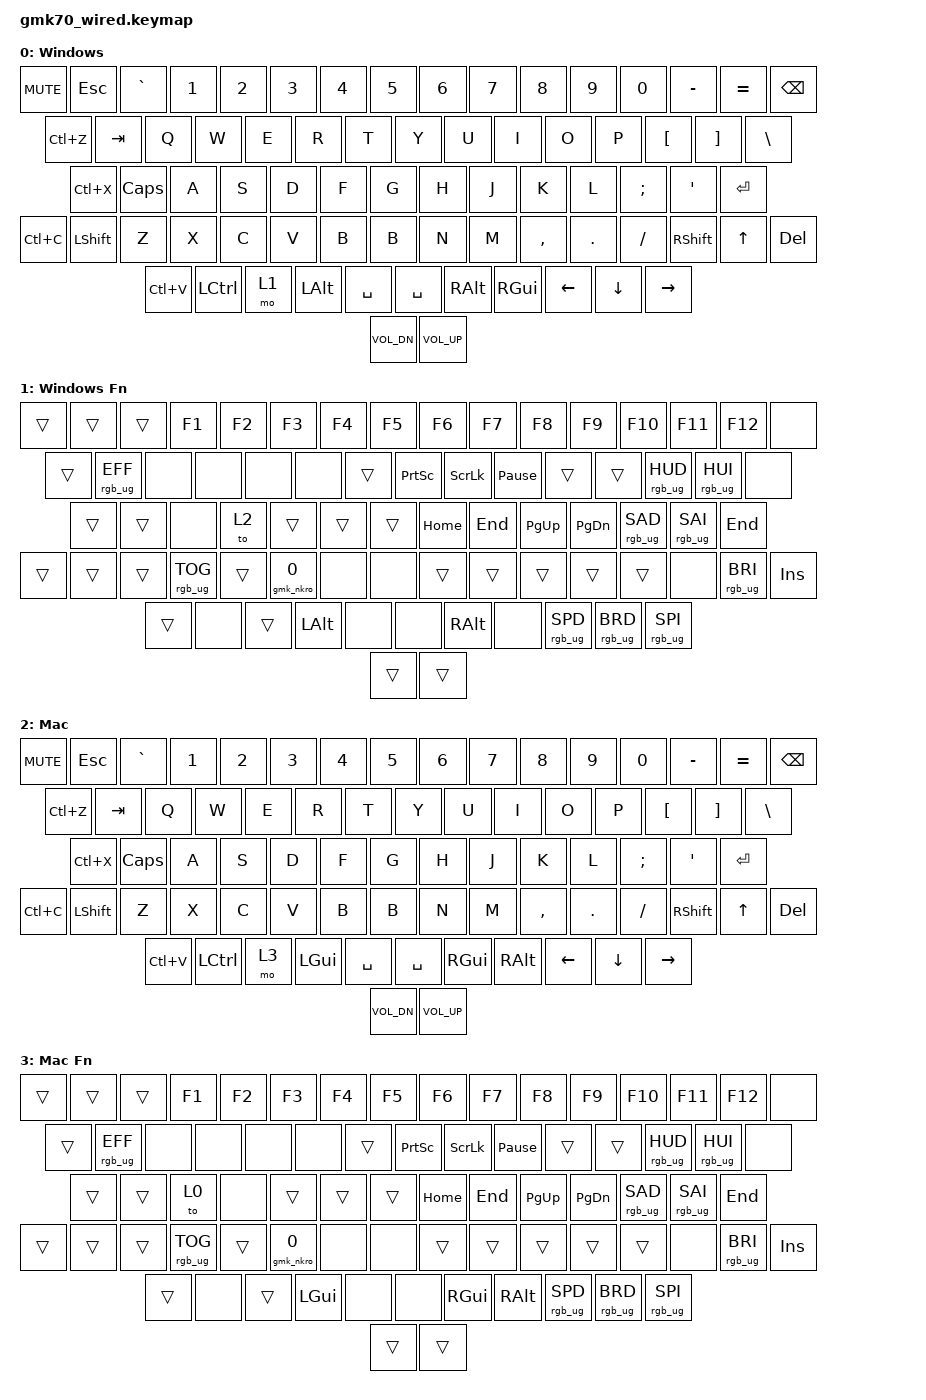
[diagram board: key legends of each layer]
/* SPDX-License-Identifier: GPL-2.0-or-later */
/* Stock physical layout: Copyright 2024 yangzheng20003 (@yangzheng20003). */
/* Physical order: maintained stock_keymap.h and keyboard.json LAYOUT.
 * Knob CCW/CW are appended after the 72 physical positions. */
#include <behaviors.dtsi>
#include <dt-bindings/zmk/keys.h>
#include <dt-bindings/zmk/rgb.h>
/* Board actions are supplied by the Studio profile; minimal wired builds
 * retain explicit no-ops for unavailable radio/settings features. */
#ifndef GMK70_BT1_BINDING
#define GMK70_BT1_BINDING &none
#define GMK70_BT2_BINDING &none
#define GMK70_BT3_BINDING &none
#define GMK70_DONGLE_BINDING &none
#define GMK70_RESET_BINDING &none
#define GMK70_BATTERY_BINDING &none
#define GMK70_CHARGING_BINDING &none
#define GMK70_FLIP_BINDING &none
#define GMK70_GUI_BINDING &none
#define GMK70_WINDOWS_BINDING &to 0
#define GMK70_MAC_BINDING &to 2
#endif
#ifndef GMK70_NKRO_BINDING
#    define GMK70_NKRO_BINDING &gmk_nkro 0
#endif
/ {
    keymap {
        compatible = "zmk,keymap";
        base_layer {
            display-name = "Windows";
            bindings = <
                &kp C_MUTE &kp ESC &kp GRAVE &kp N1 &kp N2 &kp N3 &kp N4 &kp N5 &kp N6 &kp N7 &kp N8 &kp N9 &kp N0 &kp MINUS &kp EQUAL &kp BSPC
                &kp LC(Z) &kp TAB &kp Q &kp W &kp E &kp R &kp T &kp Y &kp U &kp I &kp O &kp P &kp LBKT &kp RBKT &kp BSLH
                &kp LC(X) &kp CAPS &kp A &kp S &kp D &kp F &kp G &kp H &kp J &kp K &kp L &kp SEMI &kp SQT &kp RET
                &kp LC(C) &kp LSHFT &kp Z &kp X &kp C &kp V &kp B &kp B &kp N &kp M &kp COMMA &kp DOT &kp FSLH &kp RSHFT &kp UP &kp DEL
                &kp LC(V) &kp LCTRL &mo 1 &kp LALT &kp SPACE &kp SPACE &kp RALT &kp RGUI &kp LEFT &kp DOWN &kp RIGHT
                &kp C_VOL_DN &kp C_VOL_UP
            >;
        };
        function_layer {
            display-name = "Windows Fn";
            bindings = <
                &trans &trans &trans &kp F1 &kp F2 &kp F3 &kp F4 &kp F5 &kp F6 &kp F7 &kp F8 &kp F9 &kp F10 &kp F11 &kp F12 GMK70_RESET_BINDING
                &trans &rgb_ug RGB_EFF GMK70_BT1_BINDING GMK70_BT2_BINDING GMK70_BT3_BINDING GMK70_DONGLE_BINDING &trans &kp PSCRN &kp SLCK &kp PAUSE_BREAK &trans &trans &rgb_ug RGB_HUD &rgb_ug RGB_HUI &none /* QMK RL_MOD: independent logo effects unavailable. */
                &trans &trans &none GMK70_MAC_BINDING &trans &trans &trans &kp HOME &kp END &kp PG_UP &kp PG_DN &rgb_ug RGB_SAD &rgb_ug RGB_SAI &kp END
                &trans &trans &trans &rgb_ug RGB_TOG &trans GMK70_NKRO_BINDING GMK70_BATTERY_BINDING GMK70_BATTERY_BINDING &trans &trans &trans &trans &trans &none &rgb_ug RGB_BRI &kp INS
                &trans GMK70_FLIP_BINDING &trans &kp LALT GMK70_CHARGING_BINDING GMK70_CHARGING_BINDING &kp RALT GMK70_GUI_BINDING &rgb_ug RGB_SPD &rgb_ug RGB_BRD &rgb_ug RGB_SPI
                &trans &trans
            >;
        };
        mac_base_layer {
            display-name = "Mac";
            bindings = <
                &kp C_MUTE &kp ESC &kp GRAVE &kp N1 &kp N2 &kp N3 &kp N4 &kp N5 &kp N6 &kp N7 &kp N8 &kp N9 &kp N0 &kp MINUS &kp EQUAL &kp BSPC
                &kp LC(Z) &kp TAB &kp Q &kp W &kp E &kp R &kp T &kp Y &kp U &kp I &kp O &kp P &kp LBKT &kp RBKT &kp BSLH
                &kp LC(X) &kp CAPS &kp A &kp S &kp D &kp F &kp G &kp H &kp J &kp K &kp L &kp SEMI &kp SQT &kp RET
                &kp LC(C) &kp LSHFT &kp Z &kp X &kp C &kp V &kp B &kp B &kp N &kp M &kp COMMA &kp DOT &kp FSLH &kp RSHFT &kp UP &kp DEL
                &kp LC(V) &kp LCTRL &mo 3 &kp LGUI &kp SPACE &kp SPACE &kp RGUI &kp RALT &kp LEFT &kp DOWN &kp RIGHT
                &kp C_VOL_DN &kp C_VOL_UP
            >;
        };
        mac_function_layer {
            display-name = "Mac Fn";
            bindings = <
                &trans &trans &trans &kp F1 &kp F2 &kp F3 &kp F4 &kp F5 &kp F6 &kp F7 &kp F8 &kp F9 &kp F10 &kp F11 &kp F12 GMK70_RESET_BINDING
                &trans &rgb_ug RGB_EFF GMK70_BT1_BINDING GMK70_BT2_BINDING GMK70_BT3_BINDING GMK70_DONGLE_BINDING &trans &kp PSCRN &kp SLCK &kp PAUSE_BREAK &trans &trans &rgb_ug RGB_HUD &rgb_ug RGB_HUI &none /* QMK RL_MOD: independent logo effects unavailable. */
                &trans &trans GMK70_WINDOWS_BINDING &none &trans &trans &trans &kp HOME &kp END &kp PG_UP &kp PG_DN &rgb_ug RGB_SAD &rgb_ug RGB_SAI &kp END
                &trans &trans &trans &rgb_ug RGB_TOG &trans GMK70_NKRO_BINDING GMK70_BATTERY_BINDING GMK70_BATTERY_BINDING &trans &trans &trans &trans &trans &none &rgb_ug RGB_BRI &kp INS
                &trans GMK70_FLIP_BINDING &trans &kp LGUI GMK70_CHARGING_BINDING GMK70_CHARGING_BINDING &kp RGUI &kp RALT &rgb_ug RGB_SPD &rgb_ug RGB_BRD &rgb_ug RGB_SPI
                &trans &trans
            >;
        };
    };
};
